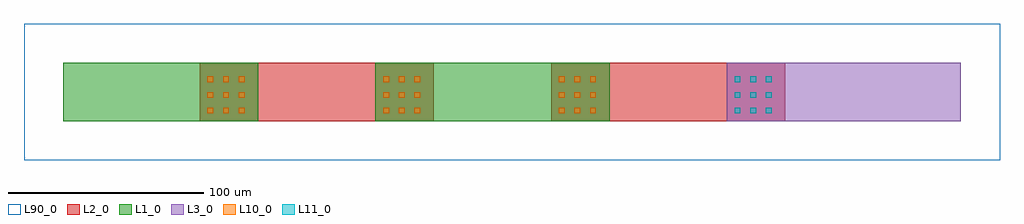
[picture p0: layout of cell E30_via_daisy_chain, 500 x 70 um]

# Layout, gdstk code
import gdstk
lib = gdstk.Library(unit=1e-6, precision=1e-09)
def R(c, l, rs):  # rectangles x0, y0, x1, y1
    for r in rs: c.add(gdstk.rectangle(r[:2], r[2:], *l))
def A(c, l, x, y, w, h, nx, ny, dx, dy):  # array of equal rectangles
    R(c, l, [(x+i*dx, y+j*dy, x+i*dx+w, y+j*dy+h) for i in range(nx) for j in range(ny)])
L1_0 = (1, 0)
L2_0 = (2, 0)
L3_0 = (3, 0)
L10_0 = (10, 0)
L11_0 = (11, 0)
L90_0 = (90, 0)

e30_via_daisy_chain = lib.new_cell('E30_via_daisy_chain')
R(e30_via_daisy_chain, L1_0, [(0,0,100,30), (160,0,280,30)])
R(e30_via_daisy_chain, L2_0, [(70,0,190,30), (250,0,370,30)])
R(e30_via_daisy_chain, L3_0, [(340,0,460,30)])
A(e30_via_daisy_chain, L10_0, 74, 4, 3, 3, 3, 3, 8, 8)
A(e30_via_daisy_chain, L10_0, 164, 4, 3, 3, 3, 3, 8, 8)
A(e30_via_daisy_chain, L10_0, 254, 4, 3, 3, 3, 3, 8, 8)
A(e30_via_daisy_chain, L11_0, 344, 4, 3, 3, 3, 3, 8, 8)
R(e30_via_daisy_chain, L90_0, [(-20,-20,480,50)])

lib.write_gds('E30_via_daisy_chain.gds')
